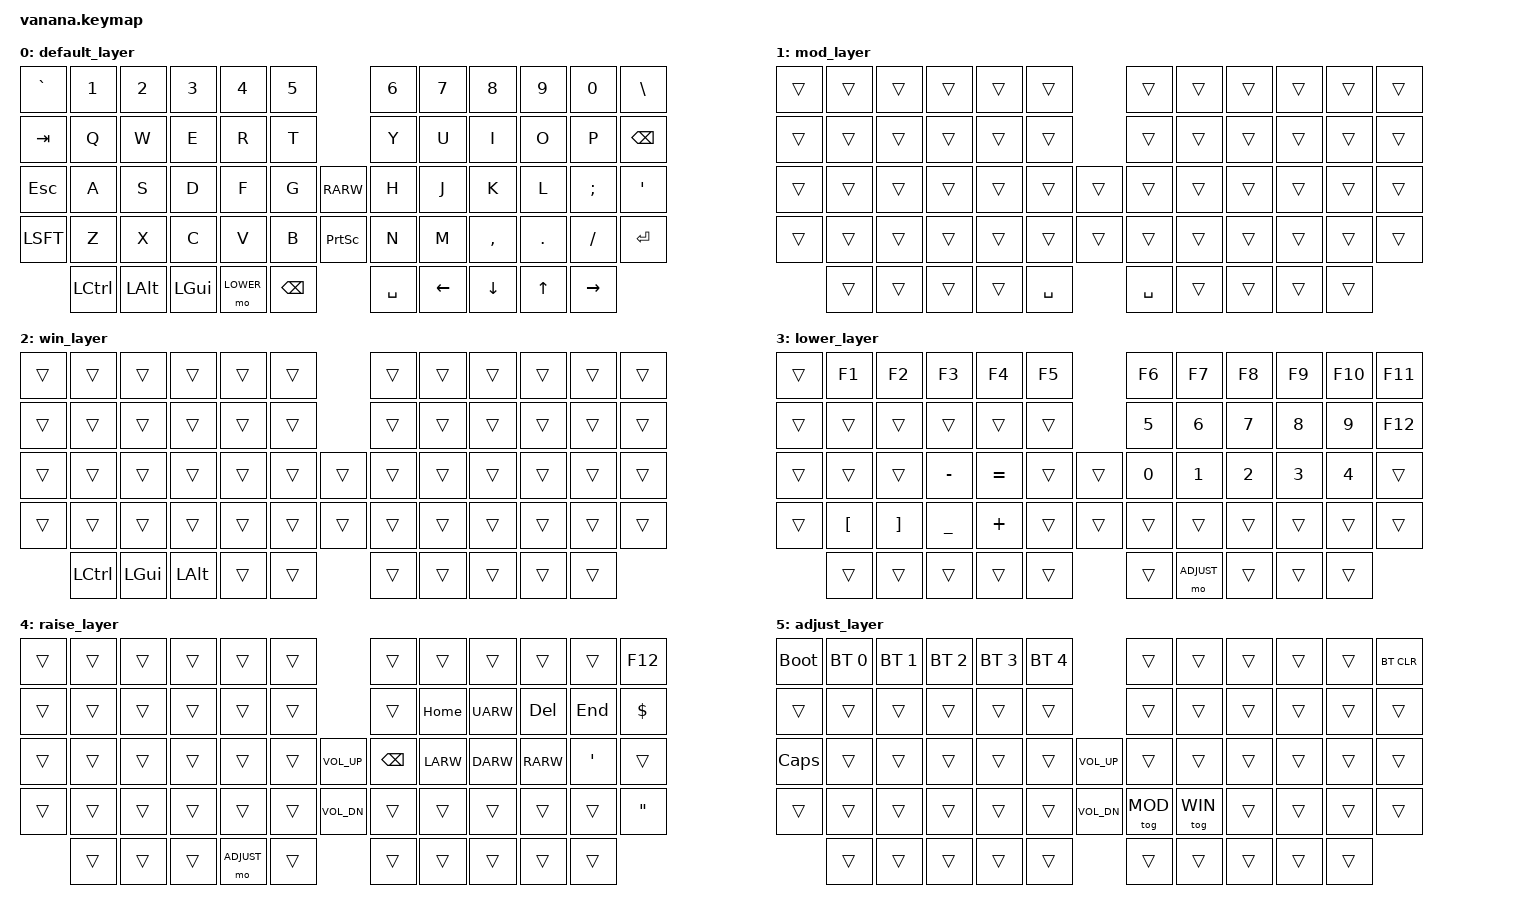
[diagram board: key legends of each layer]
/*
 * Copyright (c) 2020 dELLIKEEb
 *
 * SPDX-License-Identifier: MIT
 */

#include <behaviors.dtsi>
#include <dt-bindings/zmk/keys.h>
#include <dt-bindings/zmk/bt.h>


// custom keycode defs for easier access
#define DEFAULT 0
#define MOD     1
#define WIN     2
#define LOWER   3
#define RAISE   4
#define ADJUST  5

// BASE
// -------------------------------------------               -------------------------------------------
// |   `  |   1  |   2  |   3  |   4  |   5  |               |   6  |   7  |   8  |   9  |   0  | Bksp |
// -------------------------------------------               -------------------------------------------
// | Tab  |   Q  |   W  |   E  |   R  |   T  |               |   Y  |   U  |   I  |   O  |   P  | Del  |
// -------------------------------------------   ---------  --------------------------------------------
// | Esc  |   A  |   S  |   D  |   F  |   G  |   | Right |   |   H  |   J  |   K  |   L  |   ;  |Enter |
// -------------------------------------------   ---------   -------------------------------------------
// | Shift|   Z  |   X  |   C  |   V  |   B  |   | LEFT  |   |   N  |   M  |   ,  |   .  |   /  | "    |
// -------------------------------------------   ---------   -------------------------------------------
//        | Ctrl | GUI  |  Alt |Lower |Space |               |Space |Raise |Alt   | DOWN | UP   |
//        ------------------------------------               ------------------------------------
// 

/ {
    keymap {
        compatible = "zmk,keymap";

        default_layer {
            bindings = <
                &kp GRAV    &kp N1      &kp N2      &kp N3      &kp N4    &kp N5                    &kp N6      &kp N7      &kp N8      &kp N9      &kp N0      &kp BSLH
                &kp TAB     &kp Q       &kp W       &kp E       &kp R     &kp T                     &kp Y       &kp U       &kp I       &kp O       &kp P       &kp BKSP
                &kp ESC     &kp A       &kp S       &kp D       &kp F     &kp G         &kp RARW    &kp H       &kp J       &kp K       &kp L       &kp SCLN    &kp SQT
                &kp LSFT    &kp Z       &kp X       &kp C       &kp V     &kp B         &kp PSCRN   &kp N       &kp M       &kp CMMA    &kp DOT     &kp FSLH    &kp RET
                            &kp LCTL    &kp LALT    &kp LGUI    &mo LOWER &kp BKSP                  &kp SPC     &kp LEFT    &kp DOWN    &kp UP      &kp RIGHT
            >;
        };

        mod_layer {
            bindings = <
                &trans      &trans      &trans      &trans      &trans      &trans                  &trans      &trans      &trans      &trans      &trans      &trans  
                &trans      &trans      &trans      &trans      &trans      &trans                  &trans      &trans      &trans      &trans      &trans      &trans
                &trans      &trans      &trans      &trans      &trans      &trans      &trans      &trans      &trans      &trans      &trans      &trans      &trans
                &trans      &trans      &trans      &trans      &trans      &trans      &trans      &trans      &trans      &trans      &trans      &trans      &trans 
                            &trans      &trans      &trans      &trans      &kp SPC                 &kp SPC     &trans      &trans      &trans      &trans
            >;
        };

        win_layer {
            bindings = <
                &trans      &trans      &trans      &trans      &trans      &trans                  &trans      &trans      &trans      &trans      &trans      &trans  
                &trans      &trans      &trans      &trans      &trans      &trans                  &trans      &trans      &trans      &trans      &trans      &trans
                &trans      &trans      &trans      &trans      &trans      &trans      &trans      &trans      &trans      &trans      &trans      &trans      &trans
                &trans      &trans      &trans      &trans      &trans      &trans      &trans      &trans      &trans      &trans      &trans      &trans      &trans 
                            &kp LCTL    &kp LGUI    &kp LALT    &trans      &trans                  &trans      &trans      &trans      &trans      &trans
            >;
        };

        lower_layer {
            bindings = <
                &trans      &kp F1      &kp F2      &kp F3      &kp F4      &kp F5                 &kp F6      &kp F7      &kp F8      &kp F9      &kp F10     &kp F11  
                &trans      &trans      &trans      &trans      &trans      &trans                 &kp N5      &kp N6      &kp N7      &kp N8      &kp N9      &kp F12
                &trans      &trans      &trans      &kp MINUS   &kp EQUAL   &trans     &trans      &kp N0      &kp N1      &kp N2      &kp N3      &kp N4      &trans
                &trans      &kp LBKT    &kp RBKT    &kp UNDER   &kp PLUS    &trans     &trans      &trans      &trans      &trans      &trans      &trans      &trans
                            &trans      &trans      &trans      &trans      &trans                 &trans      &mo ADJUST  &trans      &trans      &trans
            >;
        };

        raise_layer {
            bindings = <
                &trans      &trans      &trans      &trans      &trans      &trans                      &trans      &trans      &trans      &trans      &trans      &kp F12  
                &trans      &trans      &trans      &trans      &trans      &trans                      &trans      &kp HOME    &kp UARW    &kp DEL     &kp END     &kp DOLLAR
                &trans      &trans      &trans      &trans      &trans      &trans      &kp C_VOL_UP    &kp BSPC    &kp LARW    &kp DARW    &kp RARW    &kp APOS    &trans 
                &trans      &trans      &trans      &trans      &trans      &trans      &kp C_VOL_DN    &trans      &trans      &trans      &trans      &trans      &kp DQT 
                            &trans      &trans      &trans      &mo ADJUST  &trans                      &trans      &trans      &trans      &trans      &trans
            >;
            
        };
        
        adjust_layer {
            bindings = <
                &bootloader &bt BT_SEL 0    &bt BT_SEL 1    &bt BT_SEL 2    &bt BT_SEL 3    &bt BT_SEL 4                    &trans      &trans      &trans      &trans      &trans      &bt BT_CLR        
                &trans      &trans      &trans      &trans      &trans      &trans                              &trans      &trans      &trans      &trans      &trans      &trans
                &kp CAPS    &trans      &trans      &trans      &trans      &trans                          &kp C_VOL_UP    &trans      &trans      &trans      &trans      &trans      &trans  
                &trans      &trans          &trans          &trans          &trans          &trans          &kp C_VOL_DN    &tog MOD    &tog WIN    &trans      &trans      &trans      &trans  
                            &trans          &trans          &trans          &trans          &trans                          &trans      &trans      &trans      &trans      &trans
            >;
        };

    };
};
